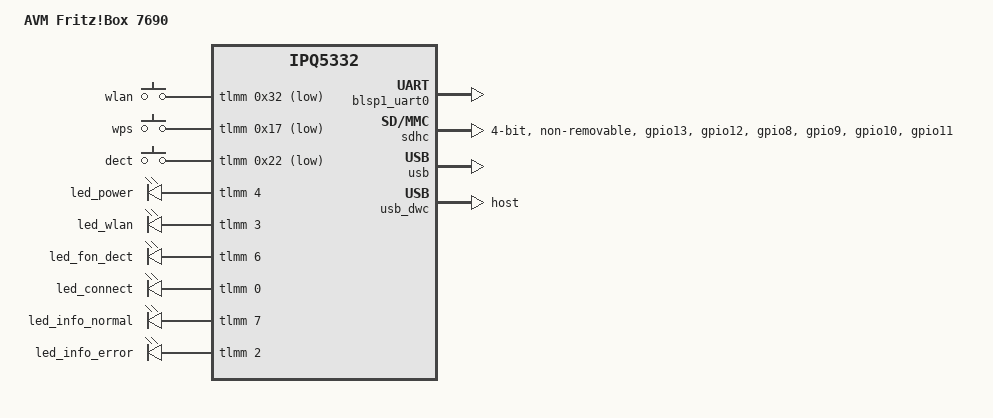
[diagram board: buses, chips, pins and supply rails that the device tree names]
// SPDX-License-Identifier: (GPL-2.0+ OR BSD-3-Clause)

/dts-v1/;

#include <dt-bindings/gpio/gpio.h>
#include <dt-bindings/input/input.h>
#include <dt-bindings/leds/common.h>
#include "ipq5332.dtsi"

/ {
	model = "AVM Fritz!Box 7690";
	compatible = "avm,fritzbox7690", "qcom,ipq5332";

	aliases {
		serial0 = &blsp1_uart0;
	};

	keys {
		compatible = "gpio-keys";

		wlan {
			label = "wlan";
			gpios = <&tlmm 0x32 GPIO_ACTIVE_LOW>;
			linux,code = <KEY_RFKILL>;
		};

		wps {
			label = "wps";
			gpios = <&tlmm 0x17 GPIO_ACTIVE_LOW>;
			linux,code = <KEY_WPS_BUTTON>;
		};

		dect {
			label = "dect";
			gpios = <&tlmm 0x22 GPIO_ACTIVE_LOW>;
			linux,code = <KEY_PHONE>;
		};
	};

	leds {
		compatible = "gpio-leds";

		led_power: led_power {
			function = LED_FUNCTION_POWER;
			gpios = <&tlmm 4 GPIO_ACTIVE_HIGH>;
		};

		led_wlan: led_wlan {
			function = LED_FUNCTION_WLAN;
			gpios = <&tlmm 3 GPIO_ACTIVE_HIGH>;
		};

		led_fon_dect: led_fon_dect {
			gpios = <&tlmm 6 GPIO_ACTIVE_HIGH>;
		};

		led_connect: led_connect {
			gpios = <&tlmm 0 GPIO_ACTIVE_HIGH>;
		};

		led_info_normal: led_info_normal {
			function = LED_FUNCTION_STATUS;
			gpios = <&tlmm 7 GPIO_ACTIVE_HIGH>;
		};

		led_info_error: led_info_error {
			function = LED_FUNCTION_FAULT;
			gpios = <&tlmm 2 GPIO_ACTIVE_HIGH>;
		};
	};
};

&blsp1_uart0 {
	pinctrl-0 = <&serial_0_pins>;
	pinctrl-names = "default";
	status = "okay";
};

&sdhc {
	bus-width = <4>;
	max-frequency = <192000000>;
	mmc-ddr-1_8v;
	mmc-hs200-1_8v;
	non-removable;
	pinctrl-0 = <&sdc_default_state>;
	pinctrl-names = "default";
	status = "okay";
};

&usb {
	status = "okay";
};

&usb_dwc {
	dr_mode = "host";
};

&tlmm {
	sdc_default_state: sdc-default-state {
		clk-pins {
			pins = "gpio13";
			function = "sdc_clk";
			drive-strength = <8>;
			bias-disable;
		};

		cmd-pins {
			pins = "gpio12";
			function = "sdc_cmd";
			drive-strength = <8>;
			bias-pull-up;
		};

		data-pins {
			pins = "gpio8", "gpio9", "gpio10", "gpio11";
			function = "sdc_data";
			drive-strength = <8>;
			bias-pull-up;
		};
	};
};
